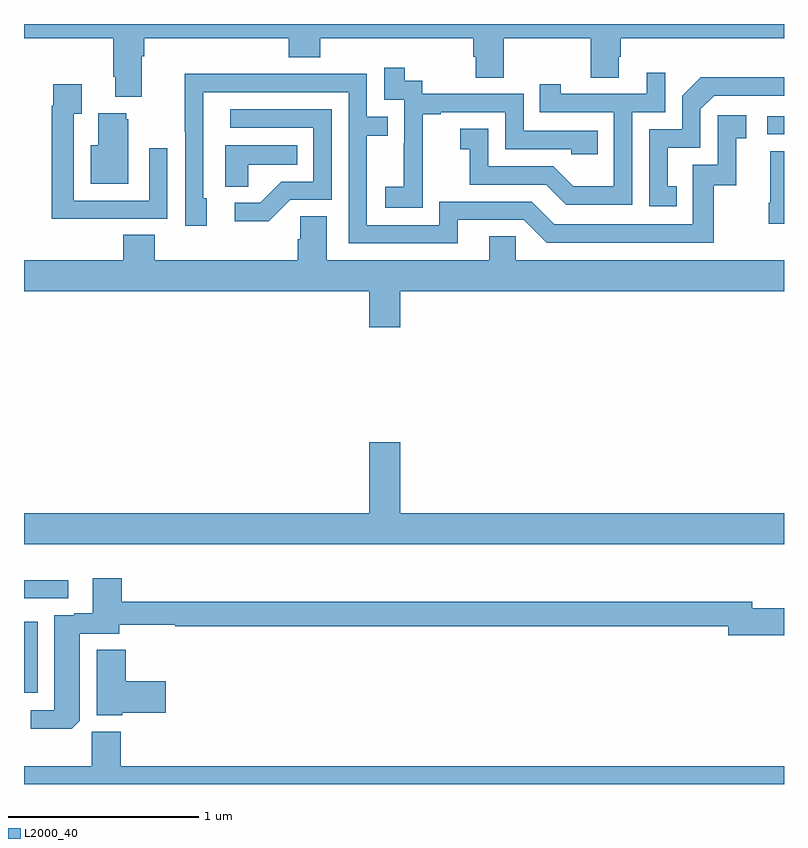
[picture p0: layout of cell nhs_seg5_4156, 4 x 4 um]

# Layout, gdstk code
import gdstk
lib = gdstk.Library(unit=1e-6, precision=1e-09)
def R(c, l, rs):  # rectangles x0, y0, x1, y1
    for r in rs: c.add(gdstk.rectangle(r[:2], r[2:], *l))
def P(c, l, *ps):  # polygons
    for p in ps: c.add(gdstk.Polygon(p, *l))
L2000_40 = (2000, 40)

nhs_seg5_4156 = lib.new_cell('nhs_seg5_4156')
R(nhs_seg5_4156, L2000_40, [(355,889.278,355.072,889.654), (355,889.776,355.234,889.872), (358.911,892.218,359,892.314)])
P(nhs_seg5_4156, L2000_40, [(355.621,892.628),(355.634,892.628),(355.634,892.724),(356.393,892.724),(356.393,892.625),(356.558,892.625),(356.558,892.724),(357.365,892.724),(357.365,892.626),(357.377,892.626),(357.377,892.516),(357.525,892.516),(357.525,892.724),(357.982,892.724),(357.982,892.516),(358.129,892.516),(358.129,892.626),(358.142,892.626),(358.142,892.724),(359,892.724),(359,892.799),(355,892.799),(355,892.724),(355.469,892.724),(355.469,892.522),(355.481,892.522),(355.481,892.415),(355.621,892.415)],
  [(357.099,892.039),(357.098,892.039),(357.098,892.323),(357.193,892.323),(357.193,892.335),(357.534,892.335),(357.534,892.14),(357.879,892.14),(357.879,892.113),(358.019,892.113),(358.019,892.236),(357.63,892.236),(357.63,892.431),(357.096,892.431),(357.096,892.5),(357.004,892.5),(357.004,892.57),(356.895,892.57),(356.895,892.401),(357,892.401),(357,892.172),(356.999,892.172),(356.999,891.943),(356.901,891.943),(356.901,891.833),(357.099,891.833)],
  [(358.2,892.335),(358.374,892.335),(358.374,892.543),(358.277,892.543),(358.277,892.431),(357.826,892.431),(357.826,892.483),(357.715,892.483),(357.715,892.335),(358.104,892.335),(358.104,891.946),(357.89,891.946),(357.786,892.05),(357.444,892.05),(357.444,892.249),(357.297,892.249),(357.297,892.139),(357.346,892.139),(357.346,891.954),(357.749,891.954),(357.854,891.849),(358.2,891.849)],
  [(357.283,891.768),(357.63,891.768),(357.75,891.648),(358.63,891.648),(358.63,891.951),(358.748,891.951),(358.748,892.197),(358.801,892.197),(358.801,892.318),(358.65,892.318),(358.65,892.059),(358.521,892.059),(358.521,891.744),(357.792,891.744),(357.672,891.864),(357.186,891.864),(357.186,891.741),(356.805,891.741),(356.805,892.21),(356.915,892.21),(356.915,892.311),(356.805,892.311),(356.805,892.536),(356.309,892.536),(356.309,892.538),(355.846,892.538),(355.846,892.231),(355.848,892.231),(355.848,891.738),(355.963,891.738),(355.963,891.882),(355.944,891.882),(355.944,892.44),(356.709,892.44),(356.709,891.645),(357.283,891.645)],
  [(358.436,891.945),(358.387,891.945),(358.387,892.149),(358.56,892.149),(358.56,892.35),(358.632,892.422),(359,892.422),(359,892.518),(358.97,892.518),(358.97,892.52),(358.562,892.52),(358.464,892.422),(358.464,892.245),(358.29,892.245),(358.29,891.84),(358.436,891.84)],
  [(355.439,891.774),(355.755,891.774),(355.755,892.144),(355.659,892.144),(355.659,891.87),(355.263,891.87),(355.263,892.327),(355.303,892.327),(355.303,892.483),(355.155,892.483),(355.155,892.37),(355.147,892.37),(355.147,891.773),(355.439,891.773)],
  [(356.4,891.873),(356.619,891.873),(356.619,892.35),(356.085,892.35),(356.085,892.254),(356.523,892.254),(356.523,891.969),(356.354,891.969),(356.243,891.858),(356.109,891.858),(356.109,891.761),(356.287,891.761)],
  [(355.549,892.299),(355.538,892.299),(355.538,892.33),(355.391,892.33),(355.391,892.162),(355.352,892.162),(355.352,891.959),(355.549,891.959)],
  [(356.181,892.058),(356.438,892.058),(356.438,892.162),(356.06,892.162),(356.06,891.943),(356.181,891.943)],
  [(359,892.129),(358.928,892.129),(358.928,891.859),(358.921,891.859),(358.921,891.747),(359,891.747)],
  [(356.98,891.392),(359,891.392),(359,891.556),(357.588,891.556),(357.588,891.683),(357.449,891.683),(357.449,891.556),(356.593,891.556),(356.593,891.788),(356.454,891.788),(356.454,891.665),(356.441,891.665),(356.441,891.556),(355.688,891.556),(355.688,891.689),(355.523,891.689),(355.523,891.556),(355,891.556),(355,891.392),(356.816,891.392),(356.816,891.204),(356.98,891.204)],
  [(359,890.224),(356.98,890.224),(356.98,890.599),(356.816,890.599),(356.816,890.224),(355,890.224),(355,890.06),(359,890.06)],
  [(355.294,889.132),(355.294,889.59),(355.501,889.59),(355.501,889.638),(355.797,889.638),(355.797,889.63),(358.706,889.63),(358.706,889.583),(359,889.583),(359,889.725),(358.834,889.725),(358.834,889.759),(355.514,889.759),(355.514,889.882),(355.361,889.882),(355.361,889.699),(355.265,889.699),(355.265,889.686),(355.16,889.686),(355.16,889.188),(355.035,889.188),(355.035,889.091),(355.252,889.091)],
  [(355.518,889.175),(355.747,889.175),(355.747,889.341),(355.535,889.341),(355.535,889.505),(355.382,889.505),(355.382,889.16),(355.518,889.16)],
  [(359,888.892),(355.508,888.892),(355.508,889.074),(355.357,889.074),(355.357,888.892),(355,888.892),(355,888.799),(359,888.799)])

lib.write_gds('nhs_seg5_4156.gds')
